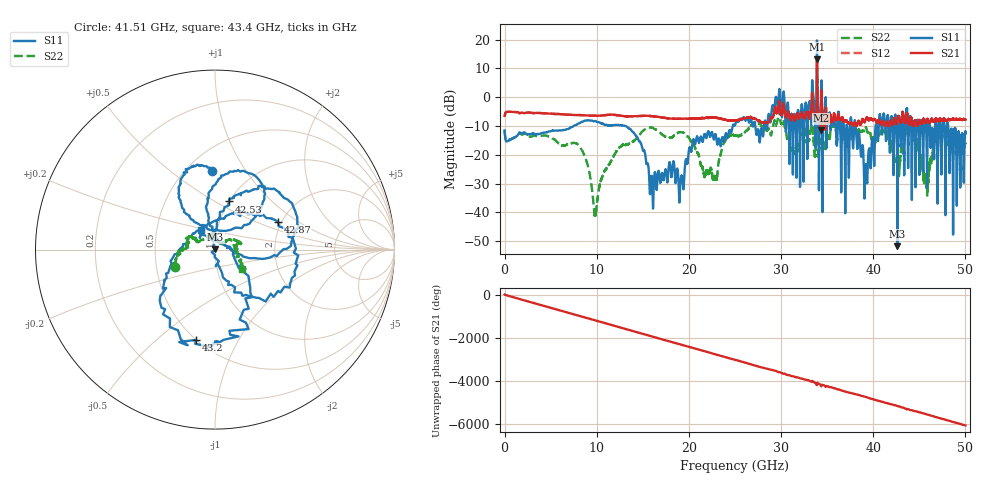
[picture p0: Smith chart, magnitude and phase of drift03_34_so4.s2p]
!Created with skrf (http://scikit-rf.org).
# Hz S RI R 50.0
!freq ReS11 ImS11 ReS21 ImS21 ReS12 ImS12 ReS22 ImS22
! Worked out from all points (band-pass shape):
!   10001 points, 300 kHz to 50 GHz, reference 50 ohm
!   highest |S21| = 13.13 dB at 33.9 GHz (marker M1); lowest = -11.5 dB at 34.32 GHz (marker M2)
!   |S21| within 3 dB of the highest: 33.89002 GHz to 33.90504 GHz (15.01 MHz wide, 0.0443 % of centre)
!   lowest |S11| = -51.8 dB at 42.63 GHz (marker M3), VSWR 1.01, Z = 50.2 + j0.145 ohm
!   |S11| at or under -10 dB: start of sweep to 7.486 GHz; 13.14 GHz to 24.74 GHz (11.6 GHz wide, 61.3 % of centre); 38.09 GHz to 40.26 GHz (2.167 GHz wide, 5.53 % of centre) (the widest 3 of 48)
!   |S22| runs from -41.3 to 5.6 dB; largest |S21 - S12| = 0.33
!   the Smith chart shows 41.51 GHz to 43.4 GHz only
!   S11 on the Smith chart (normalised r, x): 41.51 GHz: 0.66, +0.71; 42.53 GHz: 1.00, +0.58; 42.87 GHz: 1.92, +0.69; 43.2 GHz: 0.50, -0.68; 43.4 GHz: 0.83, +0.19
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300000  -0.2364 -0.119  0.4657 0.0779  0.4635 0.0796  -0.2322 -0.1254
1.440291e9  0.2101 0.0646  -0.5477 -0.0296  -0.5481 -0.029  0.2113 -0.0041
2.915283e9  -0.2121 -0.0878  0.5339 0.0512  0.5341 0.0516  -0.2024 0.0403
4.415274e9  0.2061 0.1323  -0.5218 -0.0423  -0.5219 -0.0421  0.1983 -0.0873
8.33525e9  0.2885 -0.2332  0.1464 0.4657  0.1464 0.4662  -0.073 -0.1011
9.850241e9  -0.3623 0.132  -0.1532 -0.4506  -0.1529 -0.4507  0.00853 0.00196
1.66702e10  0.0274 0.044  -0.3783 0.2539  -0.3782 0.2536  -0.1275 -0.2194
2.500015e10  -0.3258 -0.015  -0.2553 -0.2967  -0.2539 -0.2977  -0.2121 0.0279
2.895013e10  -0.3207 0.4228  -0.2924 0.3244  -0.3037 0.2883  0.0628 0.2195
3.006512e10  0.4004 0.266  0.4501 -0.1968  0.453 -0.1838  0.1746 -0.2976
3.171011e10  -0.0918 0.1869  -0.3609 0.3585  -0.3599 0.3557  0.0659 0.1581
3.33351e10  0.6142 -0.8173  0.244 -0.8401  0.2477 -0.8214  -0.1911 -0.4169
3.38951e10  -2.281 -9.433  -4.478 0.7237  -4.199 0.8995  0.469 1.84
3.432009e10  -0.779 0.00023  -0.1796 0.1979  -0.241 0.1785  0.1423 -0.0728
4.150505e10  -0.0158 0.4364  0.3358 0.1304  0.3395 0.1339  -0.2212 -0.0955
4.167005e10  -0.198 0.3017  0.3158 0.00422  0.3148 0.00924  -0.1896 -0.00811
4.252504e10  0.0782 0.2682  -0.0373 -0.3454  -0.0328 -0.347  -0.0322 0.0728
4.263004e10  0.00213 0.00145  -0.1697 -0.3401  -0.1639 -0.3436  -0.0219 0.0898
4.286504e10  0.3515 0.1538  -0.2727 -0.2841  -0.2676 -0.2892  0.0432 0.0458
4.319504e10  -0.1052 -0.5029  -0.5276 0.0722  -0.532 0.0651  0.1325 0.0336
4.339504e10  -0.0787 0.1106  -0.3284 0.1776  -0.326 0.1741  0.1482 -0.1065
5e10  -0.1164 -0.2212  0.1439 0.3827  0.1433 0.3836  -0.0538 -0.1449
